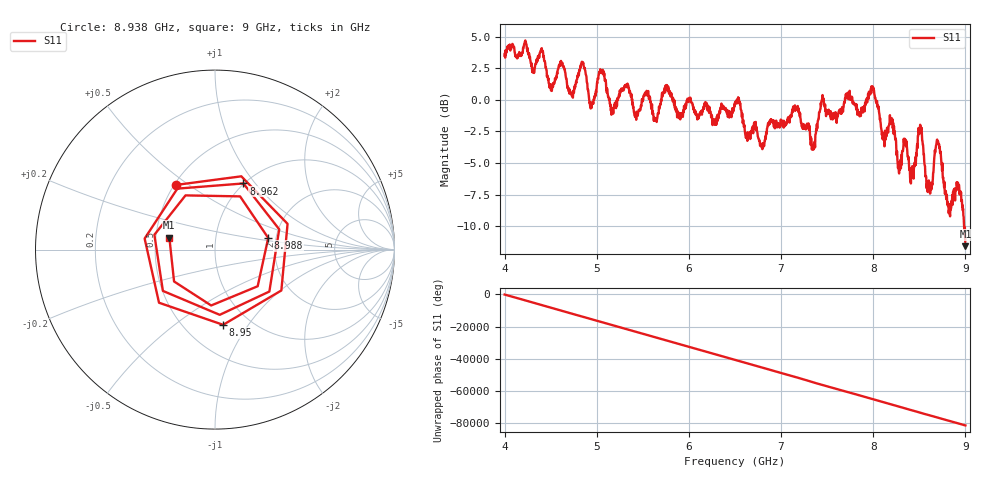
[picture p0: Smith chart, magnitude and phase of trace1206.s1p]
! Created with skrf 1.8.0 (http://scikit-rf.org).
# Hz S RI R 50.0
!freq ReS11 ImS11
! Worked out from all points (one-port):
!   1601 points, 4 GHz to 9 GHz, reference 50 ohm
!   lowest |S11| = -11.6 dB at 9 GHz (marker M1), VSWR 1.71, Z = 29.5 + j4.27 ohm
!   |S11| at or under -10 dB: 8.985873 GHz to end of sweep
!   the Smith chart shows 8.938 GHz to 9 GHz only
!   S11 on the Smith chart (normalised r, x): 8.938 GHz: 0.51, +0.45; 8.95 GHz: 0.76, -0.77; 8.962 GHz: 0.99, +0.87; 8.988 GHz: 1.82, +0.26; 9 GHz: 0.59, +0.09
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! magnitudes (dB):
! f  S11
! 4 GHz  3.5
! 4.625 GHz  2.9
! 4.728 GHz  0.4
! 4.853 GHz  3.0
! 4.941 GHz  -0.5
! 5.05 GHz  2.1
! 5.162 GHz  -1.0
! 5.25 GHz  0.8
! 5.875 GHz  -1.0
! 6.5 GHz  -0.2
! 6.794 GHz  -3.5
! 7.125 GHz  -1.0
! 7.344 GHz  -3.9
! 7.447 GHz  0.2
! 7.75 GHz  0.1
! 7.997 GHz  0.8
! 8.109 GHz  -3.2
! 8.375 GHz  -4.5
! 8.425 GHz  -5.2
! 8.509 GHz  -2.0
! 8.597 GHz  -6.9
! 8.7 GHz  -3.3
! 8.819 GHz  -9.0
! 8.938 GHz  -7.5
! 8.95 GHz  -7.5
! 8.962 GHz  -7.9
! 8.988 GHz  -10.4
! 9 GHz  -11.6
